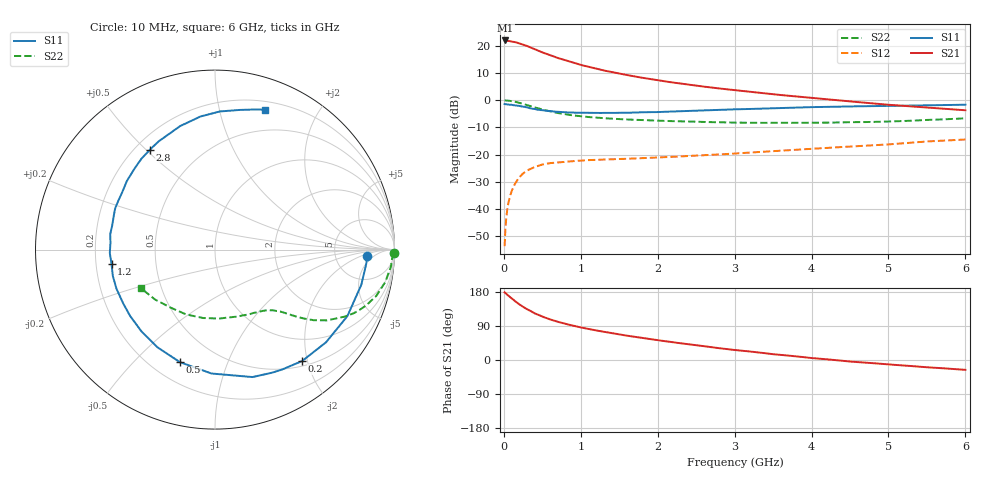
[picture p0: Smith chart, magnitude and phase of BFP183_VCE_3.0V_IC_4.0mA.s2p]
! Infineon Technologies  Discrete & RF Semiconductors
! BFP183
! VCE = 3.0 V,  IC =  4.0 mA
! Common Emitter S-Parameters:  Jan 2016
# GHz  S  MA  R  50
!  f  S11  S21  S12  S22
! GHz  MAG  ANG  MAG  ANG  MAG  ANG  MAG  ANG
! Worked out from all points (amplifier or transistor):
!   210 points, 10 MHz to 6 GHz, reference 50 ohm
!   highest |S21| = 21.9 dB at 20 MHz (marker M1)
!   |S21| within 3 dB of that: start of sweep to 384 MHz
!   unconditionally stable (mu >= 1): 1.678 GHz to 5.783 GHz
!   at 185 MHz: K = 0.14, MSG = 25.0 dB, |S12| = -28.9 dB
!   at 1.52 GHz: K = 0.92, MSG = 15.6 dB, |S12| = -21.6 dB
!   at 6 GHz: K = 0.95, MSG = 5.4 dB, |S12| = -14.4 dB
!   S11 on the Smith chart (normalised r, x): 10 MHz: 12, -3; 200 MHz: 0.58, -1.91; 500 MHz: 0.31, -0.69; 1.2 GHz: 0.27, -0.07; 2.8 GHz: 0.26, +0.51; 6 GHz: 0.28, +1.38
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0.01  0.85 -2.5  12.38 178.5  0.0021 83.7  0.9956 -1.1
0.02  0.8459 -5.6  12.48 177.0  0.0042 86.3  0.989 -2.2
0.05  0.8384 -13.5  12.36 171.2  0.0111 84.3  0.9849 -5.5
0.095  0.8248 -25.4  11.97 163.8  0.0203 75.8  0.9668 -10.4
0.15  0.8058 -39.9  11.64 154.6  0.0301 69.2  0.935 -16.0
0.2  0.788 -52.0  11.08 147.1  0.0383 63.8  0.8976 -20.3
0.24  0.7657 -60.7  10.54 141.6  0.044 59.3  0.866 -23.3
0.3  0.7402 -73.6  9.909 134.3  0.0511 53.7  0.8139 -27.3
0.4  0.6907 -91.6  8.659 123.2  0.0594 46.0  0.7378 -32.3
0.5  0.6568 -107.3  7.544 114.4  0.066 40.4  0.676 -35.6
0.6  0.6316 -120.5  6.746 107.1  0.0701 36.2  0.6247 -37.9
0.7  0.613 -131.8  5.964 100.8  0.0722 33.4  0.582 -39.7
0.8  0.6005 -141.9  5.404 95.3  0.0745 30.7  0.5513 -41.0
1.02  0.5894 -159.7  4.369 85.1  0.0782 27.5  0.5047 -43.3
1.2  0.5818 -171.9  3.782 78.0  0.0805 26.0  0.4794 -45.3
1.5  0.5899 171.5  3.083 67.3  0.0834 25.6  0.4489 -48.6
2.02  0.6071 148.7  2.293 51.7  0.0894 25.7  0.4212 -55.8
2.8  0.6648 123.0  1.642 31.1  0.1012 27.6  0.3952 -70.4
3.1  0.6848 115.0  1.478 24.5  0.1072 28.2  0.3865 -77.2
4.1  0.7499 94.4  1.072 3.6  0.131 27.4  0.3867 -102.7
5.1  0.7898 80.1  0.806 -13.1  0.1586 25.0  0.4104 -129.9
6  0.8274 70.5  0.654 -26.0  0.1901 18.4  0.4653 -152.5
